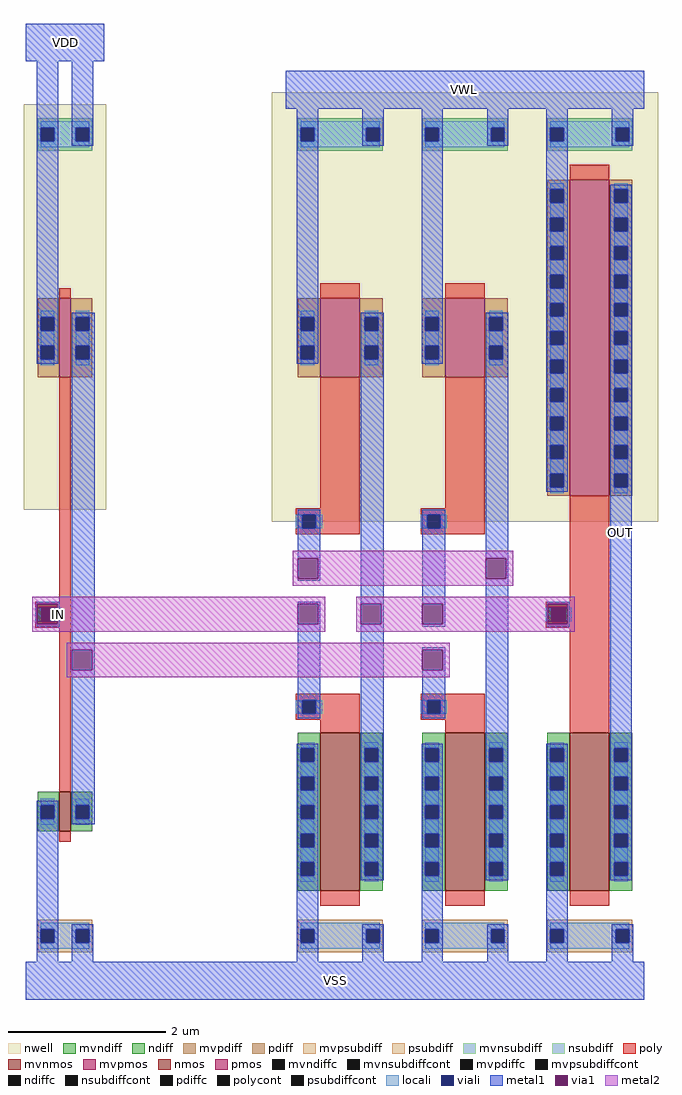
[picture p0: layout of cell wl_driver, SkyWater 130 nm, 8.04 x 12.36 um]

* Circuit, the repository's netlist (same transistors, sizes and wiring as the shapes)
.subckt wl_driver IN OUT VDD VWL VSS
XMP0 INB IN VDD VDD sky130_fd_pr__pfet_01v8 L=0.15 W=1 nf=1
XMN0 INB IN VSS VSS sky130_fd_pr__nfet_01v8 L=0.15 W=0.5 nf=1
XMP1 Q QB VWL VWL sky130_fd_pr__pfet_g5v0d10v5 L=0.5 W=1 nf=1
XMN1 Q IN VSS VSS sky130_fd_pr__nfet_g5v0d10v5 L=0.5 W=2 nf=1
XMP2 QB Q VWL VWL sky130_fd_pr__pfet_g5v0d10v5 L=0.5 W=1 nf=1
XMN2 QB INB VSS VSS sky130_fd_pr__nfet_g5v0d10v5 L=0.5 W=2 nf=1
XMP3 OUT Q VWL VWL sky130_fd_pr__pfet_g5v0d10v5 L=0.5 W=4 nf=1
XMN3 OUT Q VSS VSS sky130_fd_pr__nfet_g5v0d10v5 L=0.5 W=2 nf=1
.ends

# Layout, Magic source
magic
tech sky130B
<< nwell >>
rect -3 620 102 1134
rect 311 605 801 1149
<< nmos >>
rect 42 213 57 263
<< pmos >>
rect 42 788 57 888
<< mvnmos >>
rect 373 138 423 338
rect 531 138 581 338
rect 689 138 739 338
<< mvpmos >>
rect 373 788 423 888
rect 531 788 581 888
rect 689 638 739 1038
<< ndiff >>
rect 15 246 42 263
rect 15 229 19 246
rect 36 229 42 246
rect 15 213 42 229
rect 57 246 84 263
rect 57 229 63 246
rect 80 229 84 246
rect 57 213 84 229
<< pdiff >>
rect 15 864 42 888
rect 15 847 19 864
rect 36 847 42 864
rect 15 828 42 847
rect 15 811 19 828
rect 36 811 42 828
rect 15 788 42 811
rect 57 864 84 888
rect 57 847 63 864
rect 80 847 84 864
rect 57 828 84 847
rect 57 811 63 828
rect 80 811 84 828
rect 57 788 84 811
<< mvndiff >>
rect 344 318 373 338
rect 344 301 348 318
rect 365 301 373 318
rect 344 282 373 301
rect 344 265 348 282
rect 365 265 373 282
rect 344 246 373 265
rect 344 229 348 246
rect 365 229 373 246
rect 344 210 373 229
rect 344 193 348 210
rect 365 193 373 210
rect 344 174 373 193
rect 344 157 348 174
rect 365 157 373 174
rect 344 138 373 157
rect 423 318 452 338
rect 423 301 429 318
rect 446 301 452 318
rect 423 282 452 301
rect 423 265 429 282
rect 446 265 452 282
rect 423 246 452 265
rect 423 229 429 246
rect 446 229 452 246
rect 423 210 452 229
rect 423 193 429 210
rect 446 193 452 210
rect 423 174 452 193
rect 423 157 429 174
rect 446 157 452 174
rect 423 138 452 157
rect 502 318 531 338
rect 502 301 506 318
rect 523 301 531 318
rect 502 282 531 301
rect 502 265 506 282
rect 523 265 531 282
rect 502 246 531 265
rect 502 229 506 246
rect 523 229 531 246
rect 502 210 531 229
rect 502 193 506 210
rect 523 193 531 210
rect 502 174 531 193
rect 502 157 506 174
rect 523 157 531 174
rect 502 138 531 157
rect 581 318 610 338
rect 581 301 587 318
rect 604 301 610 318
rect 581 282 610 301
rect 581 265 587 282
rect 604 265 610 282
rect 581 246 610 265
rect 581 229 587 246
rect 604 229 610 246
rect 581 210 610 229
rect 581 193 587 210
rect 604 193 610 210
rect 581 174 610 193
rect 581 157 587 174
rect 604 157 610 174
rect 581 138 610 157
rect 660 318 689 338
rect 660 301 664 318
rect 681 301 689 318
rect 660 282 689 301
rect 660 265 664 282
rect 681 265 689 282
rect 660 246 689 265
rect 660 229 664 246
rect 681 229 689 246
rect 660 210 689 229
rect 660 193 664 210
rect 681 193 689 210
rect 660 174 689 193
rect 660 157 664 174
rect 681 157 689 174
rect 660 138 689 157
rect 739 318 768 338
rect 739 301 745 318
rect 762 301 768 318
rect 739 282 768 301
rect 739 265 745 282
rect 762 265 768 282
rect 739 246 768 265
rect 739 229 745 246
rect 762 229 768 246
rect 739 210 768 229
rect 739 193 745 210
rect 762 193 768 210
rect 739 174 768 193
rect 739 157 745 174
rect 762 157 768 174
rect 739 138 768 157
<< mvpdiff >>
rect 660 1026 689 1038
rect 660 1009 664 1026
rect 681 1009 689 1026
rect 660 990 689 1009
rect 660 973 664 990
rect 681 973 689 990
rect 660 954 689 973
rect 660 937 664 954
rect 681 937 689 954
rect 660 918 689 937
rect 660 901 664 918
rect 681 901 689 918
rect 344 864 373 888
rect 344 847 348 864
rect 365 847 373 864
rect 344 828 373 847
rect 344 811 348 828
rect 365 811 373 828
rect 344 788 373 811
rect 423 864 452 888
rect 423 847 429 864
rect 446 847 452 864
rect 423 828 452 847
rect 423 811 429 828
rect 446 811 452 828
rect 423 788 452 811
rect 502 864 531 888
rect 502 847 506 864
rect 523 847 531 864
rect 502 828 531 847
rect 502 811 506 828
rect 523 811 531 828
rect 502 788 531 811
rect 581 864 610 888
rect 581 847 587 864
rect 604 847 610 864
rect 581 828 610 847
rect 581 811 587 828
rect 604 811 610 828
rect 581 788 610 811
rect 660 882 689 901
rect 660 865 664 882
rect 681 865 689 882
rect 660 846 689 865
rect 660 829 664 846
rect 681 829 689 846
rect 660 810 689 829
rect 660 793 664 810
rect 681 793 689 810
rect 660 774 689 793
rect 660 757 664 774
rect 681 757 689 774
rect 660 738 689 757
rect 660 721 664 738
rect 681 721 689 738
rect 660 702 689 721
rect 660 685 664 702
rect 681 685 689 702
rect 660 666 689 685
rect 660 649 664 666
rect 681 649 689 666
rect 660 638 689 649
rect 739 1026 768 1038
rect 739 1009 745 1026
rect 762 1009 768 1026
rect 739 990 768 1009
rect 739 973 745 990
rect 762 973 768 990
rect 739 954 768 973
rect 739 937 745 954
rect 762 937 768 954
rect 739 918 768 937
rect 739 901 745 918
rect 762 901 768 918
rect 739 882 768 901
rect 739 865 745 882
rect 762 865 768 882
rect 739 846 768 865
rect 739 829 745 846
rect 762 829 768 846
rect 739 810 768 829
rect 739 793 745 810
rect 762 793 768 810
rect 739 774 768 793
rect 739 757 745 774
rect 762 757 768 774
rect 739 738 768 757
rect 739 721 745 738
rect 762 721 768 738
rect 739 702 768 721
rect 739 685 745 702
rect 762 685 768 702
rect 739 666 768 685
rect 739 649 745 666
rect 762 649 768 666
rect 739 638 768 649
<< ndiffc >>
rect 19 229 36 246
rect 63 229 80 246
<< pdiffc >>
rect 19 847 36 864
rect 19 811 36 828
rect 63 847 80 864
rect 63 811 80 828
<< mvndiffc >>
rect 348 301 365 318
rect 348 265 365 282
rect 348 229 365 246
rect 348 193 365 210
rect 348 157 365 174
rect 429 301 446 318
rect 429 265 446 282
rect 429 229 446 246
rect 429 193 446 210
rect 429 157 446 174
rect 506 301 523 318
rect 506 265 523 282
rect 506 229 523 246
rect 506 193 523 210
rect 506 157 523 174
rect 587 301 604 318
rect 587 265 604 282
rect 587 229 604 246
rect 587 193 604 210
rect 587 157 604 174
rect 664 301 681 318
rect 664 265 681 282
rect 664 229 681 246
rect 664 193 681 210
rect 664 157 681 174
rect 745 301 762 318
rect 745 265 762 282
rect 745 229 762 246
rect 745 193 762 210
rect 745 157 762 174
<< mvpdiffc >>
rect 664 1009 681 1026
rect 664 973 681 990
rect 664 937 681 954
rect 664 901 681 918
rect 348 847 365 864
rect 348 811 365 828
rect 429 847 446 864
rect 429 811 446 828
rect 506 847 523 864
rect 506 811 523 828
rect 587 847 604 864
rect 587 811 604 828
rect 664 865 681 882
rect 664 829 681 846
rect 664 793 681 810
rect 664 757 681 774
rect 664 721 681 738
rect 664 685 681 702
rect 664 649 681 666
rect 745 1009 762 1026
rect 745 973 762 990
rect 745 937 762 954
rect 745 901 762 918
rect 745 865 762 882
rect 745 829 762 846
rect 745 793 762 810
rect 745 757 762 774
rect 745 721 762 738
rect 745 685 762 702
rect 745 649 762 666
<< psubdiff >>
rect 15 89 84 101
rect 15 72 19 89
rect 36 72 63 89
rect 80 72 84 89
rect 15 60 84 72
<< nsubdiff >>
rect 15 1104 84 1116
rect 15 1087 19 1104
rect 36 1087 63 1104
rect 80 1087 84 1104
rect 15 1075 84 1087
<< mvpsubdiff >>
rect 344 89 452 101
rect 344 72 348 89
rect 365 72 431 89
rect 448 72 452 89
rect 344 60 452 72
rect 502 89 610 101
rect 502 72 506 89
rect 523 72 589 89
rect 606 72 610 89
rect 502 60 610 72
rect 660 89 768 101
rect 660 72 664 89
rect 681 72 747 89
rect 764 72 768 89
rect 660 60 768 72
<< mvnsubdiff >>
rect 344 1104 452 1116
rect 344 1087 348 1104
rect 365 1087 431 1104
rect 448 1087 452 1104
rect 344 1075 452 1087
rect 502 1104 610 1116
rect 502 1087 506 1104
rect 523 1087 589 1104
rect 606 1087 610 1104
rect 502 1075 610 1087
rect 660 1104 768 1116
rect 660 1087 664 1104
rect 681 1087 747 1104
rect 764 1087 768 1104
rect 660 1075 768 1087
<< psubdiffcont >>
rect 19 72 36 89
rect 63 72 80 89
<< nsubdiffcont >>
rect 19 1087 36 1104
rect 63 1087 80 1104
<< mvpsubdiffcont >>
rect 348 72 365 89
rect 431 72 448 89
rect 506 72 523 89
rect 589 72 606 89
rect 664 72 681 89
rect 747 72 764 89
<< mvnsubdiffcont >>
rect 348 1087 365 1104
rect 431 1087 448 1104
rect 506 1087 523 1104
rect 589 1087 606 1104
rect 664 1087 681 1104
rect 747 1087 764 1104
<< poly >>
rect 689 1038 739 1057
rect 42 888 57 901
rect 373 888 423 907
rect 531 888 581 907
rect 42 504 57 788
rect 373 622 423 788
rect 531 622 581 788
rect 342 614 423 622
rect 342 597 350 614
rect 367 597 423 614
rect 342 589 423 597
rect 500 614 581 622
rect 500 597 508 614
rect 525 597 581 614
rect 500 589 581 597
rect 689 504 739 638
rect 12 496 57 504
rect 12 479 20 496
rect 37 479 57 496
rect 12 471 57 479
rect 658 496 739 504
rect 658 479 666 496
rect 683 479 739 496
rect 658 471 739 479
rect 42 263 57 471
rect 342 379 423 387
rect 342 362 350 379
rect 367 362 423 379
rect 342 354 423 362
rect 500 379 581 387
rect 500 362 508 379
rect 525 362 581 379
rect 500 354 581 362
rect 373 338 423 354
rect 531 338 581 354
rect 689 338 739 471
rect 42 200 57 213
rect 373 119 423 138
rect 531 119 581 138
rect 689 119 739 138
<< polycont >>
rect 350 597 367 614
rect 508 597 525 614
rect 20 479 37 496
rect 666 479 683 496
rect 350 362 367 379
rect 508 362 525 379
<< locali >>
rect 19 1104 80 1112
rect 36 1087 63 1104
rect 19 1079 80 1087
rect 348 1104 448 1112
rect 365 1087 431 1104
rect 348 1079 448 1087
rect 506 1104 606 1112
rect 523 1087 589 1104
rect 506 1079 606 1087
rect 664 1104 764 1112
rect 681 1087 747 1104
rect 664 1079 764 1087
rect 664 1026 681 1034
rect 664 990 681 1009
rect 664 954 681 973
rect 664 918 681 937
rect 664 882 681 901
rect 19 864 36 872
rect 19 828 36 847
rect 19 803 36 811
rect 63 864 80 872
rect 63 828 80 847
rect 63 803 80 811
rect 348 864 365 872
rect 348 828 365 847
rect 348 803 365 811
rect 429 864 446 872
rect 429 828 446 847
rect 429 803 446 811
rect 506 864 523 872
rect 506 828 523 847
rect 506 803 523 811
rect 587 864 604 872
rect 587 828 604 847
rect 587 803 604 811
rect 664 846 681 865
rect 664 810 681 829
rect 664 774 681 793
rect 664 738 681 757
rect 664 702 681 721
rect 664 666 681 685
rect 664 641 681 649
rect 745 1026 762 1034
rect 745 990 762 1009
rect 745 954 762 973
rect 745 918 762 937
rect 745 882 762 901
rect 745 846 762 865
rect 745 810 762 829
rect 745 774 762 793
rect 745 738 762 757
rect 745 702 762 721
rect 745 666 762 685
rect 745 641 762 649
rect 342 597 350 614
rect 367 597 375 614
rect 500 597 508 614
rect 525 597 533 614
rect 12 479 20 496
rect 37 479 45 496
rect 658 479 666 496
rect 683 479 691 496
rect 342 362 350 379
rect 367 362 375 379
rect 500 362 508 379
rect 525 362 533 379
rect 348 318 365 326
rect 348 282 365 301
rect 19 246 36 254
rect 19 221 36 229
rect 63 246 80 254
rect 63 221 80 229
rect 348 246 365 265
rect 348 210 365 229
rect 348 174 365 193
rect 348 149 365 157
rect 429 318 446 326
rect 429 282 446 301
rect 429 246 446 265
rect 429 210 446 229
rect 429 174 446 193
rect 429 149 446 157
rect 506 318 523 326
rect 506 282 523 301
rect 506 246 523 265
rect 506 210 523 229
rect 506 174 523 193
rect 506 149 523 157
rect 587 318 604 326
rect 587 282 604 301
rect 587 246 604 265
rect 587 210 604 229
rect 587 174 604 193
rect 587 149 604 157
rect 664 318 681 326
rect 664 282 681 301
rect 664 246 681 265
rect 664 210 681 229
rect 664 174 681 193
rect 664 149 681 157
rect 745 318 762 326
rect 745 282 762 301
rect 745 246 762 265
rect 745 210 762 229
rect 745 174 762 193
rect 745 149 762 157
rect 19 89 80 97
rect 36 72 63 89
rect 19 64 80 72
rect 348 89 448 97
rect 365 72 431 89
rect 348 64 448 72
rect 506 89 606 97
rect 523 72 589 89
rect 506 64 606 72
rect 664 89 764 97
rect 681 72 747 89
rect 664 64 764 72
<< viali >>
rect 19 1087 36 1104
rect 63 1087 80 1104
rect 348 1087 365 1104
rect 431 1087 448 1104
rect 506 1087 523 1104
rect 589 1087 606 1104
rect 664 1087 681 1104
rect 747 1087 764 1104
rect 664 1009 681 1026
rect 664 973 681 990
rect 664 937 681 954
rect 664 901 681 918
rect 19 847 36 864
rect 19 811 36 828
rect 63 847 80 864
rect 63 811 80 828
rect 348 847 365 864
rect 348 811 365 828
rect 429 847 446 864
rect 429 811 446 828
rect 506 847 523 864
rect 506 811 523 828
rect 587 847 604 864
rect 587 811 604 828
rect 664 865 681 882
rect 664 829 681 846
rect 664 793 681 810
rect 664 757 681 774
rect 664 721 681 738
rect 664 685 681 702
rect 664 649 681 666
rect 745 1009 762 1026
rect 745 973 762 990
rect 745 937 762 954
rect 745 901 762 918
rect 745 865 762 882
rect 745 829 762 846
rect 745 793 762 810
rect 745 757 762 774
rect 745 721 762 738
rect 745 685 762 702
rect 745 649 762 666
rect 350 597 367 614
rect 508 597 525 614
rect 20 479 37 496
rect 666 479 683 496
rect 350 362 367 379
rect 508 362 525 379
rect 348 301 365 318
rect 348 265 365 282
rect 19 229 36 246
rect 63 229 80 246
rect 348 229 365 246
rect 348 193 365 210
rect 348 157 365 174
rect 429 301 446 318
rect 429 265 446 282
rect 429 229 446 246
rect 429 193 446 210
rect 429 157 446 174
rect 506 301 523 318
rect 506 265 523 282
rect 506 229 523 246
rect 506 193 523 210
rect 506 157 523 174
rect 587 301 604 318
rect 587 265 604 282
rect 587 229 604 246
rect 587 193 604 210
rect 587 157 604 174
rect 664 301 681 318
rect 664 265 681 282
rect 664 229 681 246
rect 664 193 681 210
rect 664 157 681 174
rect 745 301 762 318
rect 745 265 762 282
rect 745 229 762 246
rect 745 193 762 210
rect 745 157 762 174
rect 19 72 36 89
rect 63 72 80 89
rect 348 72 365 89
rect 431 72 448 89
rect 506 72 523 89
rect 589 72 606 89
rect 664 72 681 89
rect 747 72 764 89
<< metal1 >>
rect 0 1188 99 1236
rect 14 1104 41 1188
rect 14 1087 19 1104
rect 36 1087 41 1104
rect 14 864 41 1087
rect 58 1104 85 1188
rect 329 1128 783 1176
rect 58 1087 63 1104
rect 80 1087 85 1104
rect 58 1081 85 1087
rect 343 1104 370 1128
rect 343 1087 348 1104
rect 365 1087 370 1104
rect 14 847 19 864
rect 36 847 41 864
rect 14 828 41 847
rect 14 811 19 828
rect 36 811 41 828
rect 14 805 41 811
rect 58 864 87 870
rect 58 847 63 864
rect 80 847 87 864
rect 58 828 87 847
rect 58 811 63 828
rect 80 811 87 828
rect 14 501 43 504
rect 40 475 43 501
rect 14 472 43 475
rect 58 443 87 811
rect 343 864 370 1087
rect 426 1104 453 1128
rect 426 1087 431 1104
rect 448 1087 453 1104
rect 426 1081 453 1087
rect 501 1104 528 1128
rect 501 1087 506 1104
rect 523 1087 528 1104
rect 343 847 348 864
rect 365 847 370 864
rect 343 828 370 847
rect 343 811 348 828
rect 365 811 370 828
rect 343 805 370 811
rect 424 864 453 870
rect 424 847 429 864
rect 446 847 453 864
rect 424 828 453 847
rect 424 811 429 828
rect 446 811 453 828
rect 344 614 373 620
rect 344 597 350 614
rect 367 597 373 614
rect 344 559 373 597
rect 370 533 373 559
rect 344 530 373 533
rect 84 417 87 443
rect 14 246 41 252
rect 14 229 19 246
rect 36 229 41 246
rect 14 89 41 229
rect 58 246 87 417
rect 344 501 373 504
rect 370 475 373 501
rect 344 379 373 475
rect 344 362 350 379
rect 367 362 373 379
rect 344 356 373 362
rect 424 501 453 811
rect 501 864 528 1087
rect 584 1104 611 1128
rect 584 1087 589 1104
rect 606 1087 611 1104
rect 584 1081 611 1087
rect 659 1104 686 1128
rect 659 1087 664 1104
rect 681 1087 686 1104
rect 659 1026 686 1087
rect 742 1104 769 1128
rect 742 1087 747 1104
rect 764 1087 769 1104
rect 742 1081 769 1087
rect 659 1009 664 1026
rect 681 1009 686 1026
rect 659 990 686 1009
rect 659 973 664 990
rect 681 973 686 990
rect 659 954 686 973
rect 659 937 664 954
rect 681 937 686 954
rect 659 918 686 937
rect 659 901 664 918
rect 681 901 686 918
rect 659 882 686 901
rect 501 847 506 864
rect 523 847 528 864
rect 501 828 528 847
rect 501 811 506 828
rect 523 811 528 828
rect 501 805 528 811
rect 582 864 611 870
rect 582 847 587 864
rect 604 847 611 864
rect 582 828 611 847
rect 582 811 587 828
rect 604 811 611 828
rect 450 475 453 501
rect 58 229 63 246
rect 80 229 87 246
rect 58 222 87 229
rect 343 318 370 324
rect 343 301 348 318
rect 365 301 370 318
rect 343 282 370 301
rect 343 265 348 282
rect 365 265 370 282
rect 343 246 370 265
rect 343 229 348 246
rect 365 229 370 246
rect 343 210 370 229
rect 343 193 348 210
rect 365 193 370 210
rect 343 174 370 193
rect 343 157 348 174
rect 365 157 370 174
rect 14 72 19 89
rect 36 72 41 89
rect 14 48 41 72
rect 58 89 85 95
rect 58 72 63 89
rect 80 72 85 89
rect 58 48 85 72
rect 343 89 370 157
rect 424 318 453 475
rect 502 614 531 620
rect 502 597 508 614
rect 525 597 531 614
rect 502 501 531 597
rect 528 475 531 501
rect 502 472 531 475
rect 582 559 611 811
rect 659 865 664 882
rect 681 865 686 882
rect 659 846 686 865
rect 659 829 664 846
rect 681 829 686 846
rect 659 810 686 829
rect 659 793 664 810
rect 681 793 686 810
rect 659 774 686 793
rect 659 757 664 774
rect 681 757 686 774
rect 659 738 686 757
rect 659 721 664 738
rect 681 721 686 738
rect 659 702 686 721
rect 659 685 664 702
rect 681 685 686 702
rect 659 666 686 685
rect 659 649 664 666
rect 681 649 686 666
rect 659 643 686 649
rect 740 1026 767 1032
rect 740 1009 745 1026
rect 762 1009 767 1026
rect 740 990 767 1009
rect 740 973 745 990
rect 762 973 767 990
rect 740 954 767 973
rect 740 937 745 954
rect 762 937 767 954
rect 740 918 767 937
rect 740 901 745 918
rect 762 901 767 918
rect 740 882 767 901
rect 740 865 745 882
rect 762 865 767 882
rect 740 846 767 865
rect 740 829 745 846
rect 762 829 767 846
rect 740 810 767 829
rect 740 793 745 810
rect 762 793 767 810
rect 740 774 767 793
rect 740 757 745 774
rect 762 757 767 774
rect 740 738 767 757
rect 740 721 745 738
rect 762 721 767 738
rect 740 702 767 721
rect 740 685 745 702
rect 762 685 767 702
rect 740 666 767 685
rect 740 649 745 666
rect 762 649 767 666
rect 608 533 611 559
rect 502 443 531 446
rect 528 417 531 443
rect 502 379 531 417
rect 502 362 508 379
rect 525 362 531 379
rect 502 356 531 362
rect 424 301 429 318
rect 446 301 453 318
rect 424 282 453 301
rect 424 265 429 282
rect 446 265 453 282
rect 424 246 453 265
rect 424 229 429 246
rect 446 229 453 246
rect 424 210 453 229
rect 424 193 429 210
rect 446 193 453 210
rect 424 174 453 193
rect 424 157 429 174
rect 446 157 453 174
rect 424 151 453 157
rect 501 318 528 324
rect 501 301 506 318
rect 523 301 528 318
rect 501 282 528 301
rect 501 265 506 282
rect 523 265 528 282
rect 501 246 528 265
rect 501 229 506 246
rect 523 229 528 246
rect 501 210 528 229
rect 501 193 506 210
rect 523 193 528 210
rect 501 174 528 193
rect 501 157 506 174
rect 523 157 528 174
rect 343 72 348 89
rect 365 72 370 89
rect 343 48 370 72
rect 426 89 453 95
rect 426 72 431 89
rect 448 72 453 89
rect 426 48 453 72
rect 501 89 528 157
rect 582 318 611 533
rect 660 501 689 504
rect 686 475 689 501
rect 660 472 689 475
rect 582 301 587 318
rect 604 301 611 318
rect 582 282 611 301
rect 582 265 587 282
rect 604 265 611 282
rect 582 246 611 265
rect 582 229 587 246
rect 604 229 611 246
rect 582 210 611 229
rect 582 193 587 210
rect 604 193 611 210
rect 582 174 611 193
rect 582 157 587 174
rect 604 157 611 174
rect 582 151 611 157
rect 659 318 686 324
rect 659 301 664 318
rect 681 301 686 318
rect 659 282 686 301
rect 659 265 664 282
rect 681 265 686 282
rect 659 246 686 265
rect 659 229 664 246
rect 681 229 686 246
rect 659 210 686 229
rect 659 193 664 210
rect 681 193 686 210
rect 659 174 686 193
rect 659 157 664 174
rect 681 157 686 174
rect 501 72 506 89
rect 523 72 528 89
rect 501 48 528 72
rect 584 89 611 95
rect 584 72 589 89
rect 606 72 611 89
rect 584 48 611 72
rect 659 89 686 157
rect 740 318 767 649
rect 740 301 745 318
rect 762 301 767 318
rect 740 282 767 301
rect 740 265 745 282
rect 762 265 767 282
rect 740 246 767 265
rect 740 229 745 246
rect 762 229 767 246
rect 740 210 767 229
rect 740 193 745 210
rect 762 193 767 210
rect 740 174 767 193
rect 740 157 745 174
rect 762 157 767 174
rect 740 151 767 157
rect 659 72 664 89
rect 681 72 686 89
rect 659 48 686 72
rect 742 89 769 95
rect 742 72 747 89
rect 764 72 769 89
rect 742 48 769 72
rect 0 0 783 48
<< via1 >>
rect 14 496 40 501
rect 14 479 20 496
rect 20 479 37 496
rect 37 479 40 496
rect 14 475 40 479
rect 344 533 370 559
rect 58 417 84 443
rect 344 475 370 501
rect 424 475 450 501
rect 502 475 528 501
rect 582 533 608 559
rect 502 417 528 443
rect 660 496 686 501
rect 660 479 666 496
rect 666 479 683 496
rect 683 479 686 496
rect 660 475 686 479
<< metal2 >>
rect 338 559 617 568
rect 338 533 344 559
rect 370 533 582 559
rect 608 533 617 559
rect 338 524 617 533
rect 8 501 379 510
rect 8 475 14 501
rect 40 475 344 501
rect 370 475 379 501
rect 8 466 379 475
rect 418 501 695 510
rect 418 475 424 501
rect 450 475 502 501
rect 528 475 660 501
rect 686 475 695 501
rect 418 466 695 475
rect 52 443 537 452
rect 52 417 58 443
rect 84 417 502 443
rect 528 417 537 443
rect 52 408 537 417
<< labels >>
rlabel metal1 40 473 43 502 5 IN
port 1 s
rlabel metal1 740 151 767 1032 5 OUT
port 2 s
rlabel metal1 0 1188 99 1236 5 VDD
port 3 s
rlabel metal1 329 1128 783 1176 5 VWL
port 4 s
rlabel metal1 0 0 783 48 5 VSS
port 5 s
<< end >>
